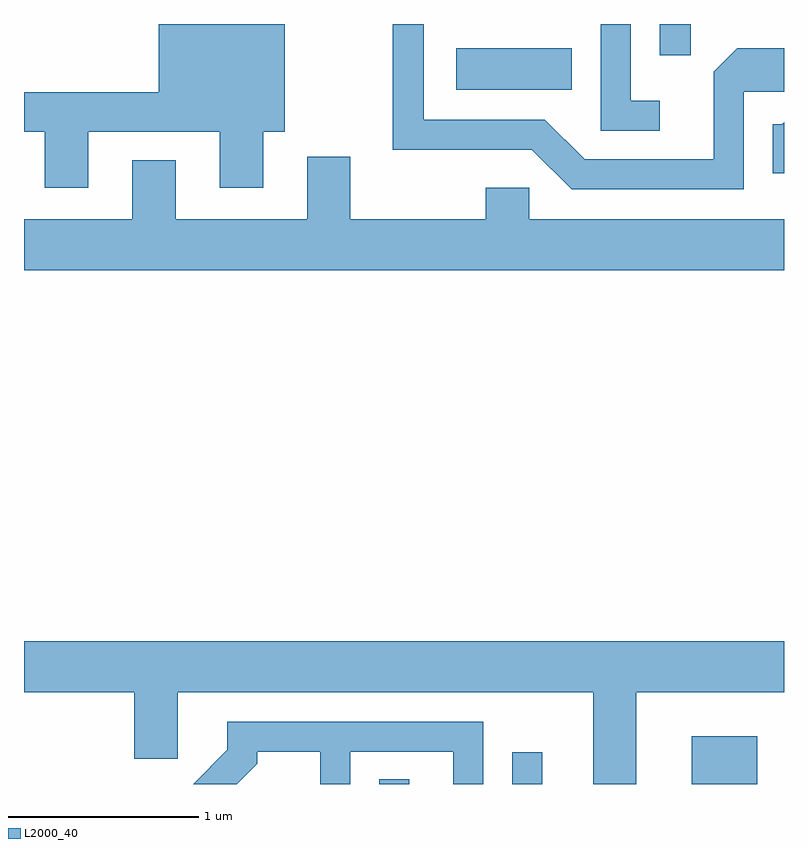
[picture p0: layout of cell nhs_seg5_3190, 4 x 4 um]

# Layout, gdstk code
import gdstk
lib = gdstk.Library(unit=1e-6, precision=1e-09)
def R(c, l, rs):  # rectangles x0, y0, x1, y1
    for r in rs: c.add(gdstk.rectangle(r[:2], r[2:], *l))
def P(c, l, *ps):  # polygons
    for p in ps: c.add(gdstk.Polygon(p, *l))
L2000_40 = (2000, 40)

nhs_seg5_3190 = lib.new_cell('nhs_seg5_3190')
R(nhs_seg5_3190, L2000_40, [(281.481,1474.072,281.639,1474.098), (282.181,1474.072,282.339,1474.238), (283.126,1474.072,283.469,1474.324), (281.886,1477.726,282.494,1477.944), (282.956,1477.908,283.119,1478.072)])
P(nhs_seg5_3190, L2000_40, [(279.949,1477.506),(280.641,1477.506),(280.641,1477.211),(280.869,1477.211),(280.869,1477.506),(280.984,1477.506),(280.984,1478.072),(280.321,1478.072),(280.321,1477.714),(279.611,1477.714),(279.611,1477.506),(279.721,1477.506),(279.721,1477.211),(279.949,1477.211)],
  [(282.958,1477.669),(282.804,1477.669),(282.804,1478.072),(282.646,1478.072),(282.646,1477.511),(282.958,1477.511)],
  [(283.399,1477.716),(283.611,1477.716),(283.611,1477.944),(283.364,1477.944),(283.241,1477.822),(283.241,1477.359),(282.562,1477.359),(282.352,1477.569),(281.714,1477.569),(281.714,1478.072),(281.551,1478.072),(281.551,1477.411),(282.284,1477.411),(282.494,1477.201),(283.399,1477.201)],
  [(283.611,1477.556),(283.599,1477.544),(283.551,1477.544),(283.551,1477.286),(283.611,1477.286)],
  [(283.611,1477.044),(282.269,1477.044),(282.269,1477.209),(282.041,1477.209),(282.041,1477.044),(281.329,1477.044),(281.329,1477.374),(281.101,1477.374),(281.101,1477.044),(280.409,1477.044),(280.409,1477.354),(280.181,1477.354),(280.181,1477.044),(279.611,1477.044),(279.611,1476.776),(283.611,1476.776)],
  [(282.834,1474.556),(283.611,1474.556),(283.611,1474.824),(279.611,1474.824),(279.611,1474.556),(280.191,1474.556),(280.191,1474.206),(280.419,1474.206),(280.419,1474.556),(282.606,1474.556),(282.606,1474.072),(282.834,1474.072)],
  [(280.839,1474.179),(280.839,1474.241),(281.171,1474.241),(281.171,1474.072),(281.329,1474.072),(281.329,1474.241),(281.871,1474.241),(281.871,1474.072),(282.029,1474.072),(282.029,1474.399),(280.681,1474.399),(280.681,1474.252),(280.502,1474.072),(280.732,1474.072)])

lib.write_gds('nhs_seg5_3190.gds')
